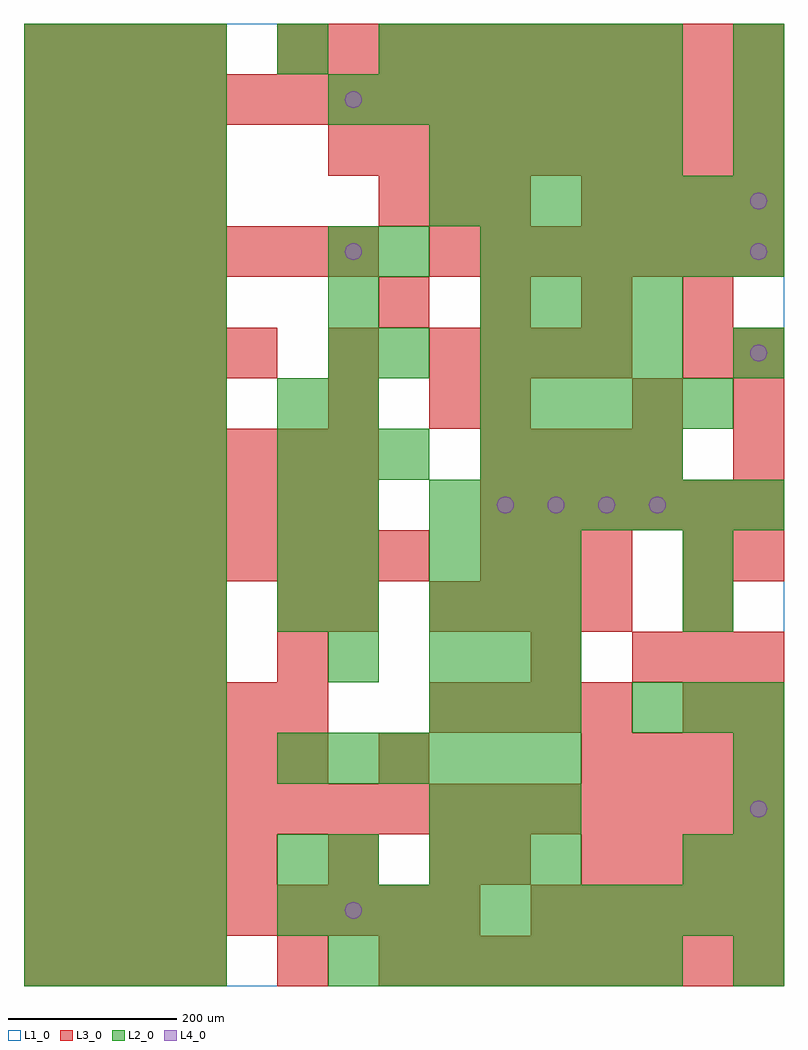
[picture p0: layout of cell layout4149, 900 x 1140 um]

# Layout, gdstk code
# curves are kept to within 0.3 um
import gdstk
lib = gdstk.Library(unit=1e-6, precision=1e-09)
def R(c, l, rs):  # rectangles x0, y0, x1, y1
    for r in rs: c.add(gdstk.rectangle(r[:2], r[2:], *l))
def A(c, l, x, y, w, h, nx, ny, dx, dy):  # array of equal rectangles
    R(c, l, [(x+i*dx, y+j*dy, x+i*dx+w, y+j*dy+h) for i in range(nx) for j in range(ny)])
def P(c, l, *ps):  # polygons
    for p in ps: c.add(gdstk.Polygon(p, *l))
L1_0 = (1, 0)
L2_0 = (2, 0)
L3_0 = (3, 0)
L4_0 = (4, 0)

layout4149 = lib.new_cell('layout4149')
R(layout4149, L1_0, [(0,0,900,1140)])
A(layout4149, L2_0, 0, 0, 60, 60, 4, 19, 60, 60)
A(layout4149, L2_0, 360, 0, 60, 60, 7, 2, 60, 1020)
A(layout4149, L2_0, 300, 60, 60, 60, 10, 1, 60, 0)
A(layout4149, L2_0, 480, 120, 60, 60, 3, 2, 60, 60)
A(layout4149, L2_0, 840, 120, 60, 60, 1, 3, 0, 60)
A(layout4149, L2_0, 300, 240, 60, 60, 6, 1, 60, 0)
A(layout4149, L2_0, 480, 300, 60, 60, 3, 4, 60, 60)
A(layout4149, L2_0, 720, 300, 60, 60, 3, 1, 60, 0)
A(layout4149, L2_0, 360, 360, 60, 60, 1, 4, 0, 60)
A(layout4149, L2_0, 300, 420, 60, 60, 1, 3, 0, 60)
A(layout4149, L2_0, 480, 540, 60, 60, 7, 2, 60, 360)
A(layout4149, L2_0, 300, 600, 60, 60, 3, 1, 60, 0)
A(layout4149, L2_0, 540, 600, 60, 60, 4, 2, 60, 120)
A(layout4149, L2_0, 360, 660, 60, 60, 1, 4, 0, 60)
A(layout4149, L2_0, 540, 660, 60, 60, 5, 1, 60, 0)
A(layout4149, L2_0, 540, 780, 60, 60, 4, 1, 60, 0)
A(layout4149, L2_0, 540, 840, 60, 60, 6, 1, 60, 0)
A(layout4149, L2_0, 480, 960, 60, 60, 5, 1, 60, 0)
A(layout4149, L2_0, 840, 960, 60, 60, 1, 3, 0, 60)
A(layout4149, L2_0, 420, 1080, 60, 60, 6, 1, 60, 0)
R(layout4149, L2_0, [(840,0,900,60), (300,120,360,180), (360,120,420,180), (780,120,840,180), (780,420,840,480), (780,480,840,540), (300,660,360,720), (420,720,480,780), (840,720,900,780), (420,840,480,900), (300,1080,360,1140)])
A(layout4149, L3_0, 0, 0, 60, 60, 4, 2, 60, 360)
A(layout4149, L3_0, 420, 0, 60, 60, 8, 1, 60, 0)
A(layout4149, L3_0, 0, 60, 60, 60, 9, 1, 60, 0)
A(layout4149, L3_0, 600, 60, 60, 60, 5, 1, 60, 0)
A(layout4149, L3_0, 0, 120, 60, 60, 5, 2, 60, 600)
A(layout4149, L3_0, 660, 120, 60, 60, 4, 2, 60, 120)
A(layout4149, L3_0, 0, 180, 60, 60, 15, 2, 60, 840)
A(layout4149, L3_0, 0, 240, 60, 60, 6, 2, 60, 60)
A(layout4149, L3_0, 480, 300, 60, 60, 4, 2, 60, 120)
A(layout4149, L3_0, 720, 360, 60, 60, 3, 1, 60, 0)
A(layout4149, L3_0, 0, 420, 60, 60, 4, 2, 60, 240)
A(layout4149, L3_0, 0, 480, 60, 60, 8, 1, 60, 0)
A(layout4149, L3_0, 540, 480, 60, 60, 3, 1, 60, 0)
A(layout4149, L3_0, 0, 540, 60, 60, 7, 2, 60, 60)
A(layout4149, L3_0, 540, 540, 60, 60, 6, 1, 60, 0)
A(layout4149, L3_0, 540, 600, 60, 60, 4, 1, 60, 0)
A(layout4149, L3_0, 840, 600, 60, 60, 1, 3, 0, 60)
A(layout4149, L3_0, 480, 720, 60, 60, 4, 1, 60, 0)
A(layout4149, L3_0, 0, 780, 60, 60, 4, 2, 60, 120)
A(layout4149, L3_0, 420, 780, 60, 60, 4, 1, 120, 0)
A(layout4149, L3_0, 0, 840, 60, 60, 7, 1, 60, 0)
A(layout4149, L3_0, 480, 840, 60, 60, 7, 1, 60, 0)
A(layout4149, L3_0, 420, 900, 60, 60, 3, 1, 60, 0)
A(layout4149, L3_0, 660, 900, 60, 60, 4, 1, 60, 0)
A(layout4149, L3_0, 0, 960, 60, 60, 4, 2, 60, 120)
A(layout4149, L3_0, 360, 960, 60, 60, 9, 1, 60, 0)
A(layout4149, L3_0, 300, 1080, 60, 60, 10, 1, 60, 0)
R(layout4149, L3_0, [(300,0,360,60), (360,120,420,180), (480,120,540,180), (540,120,600,180), (420,240,480,300), (780,300,840,360), (840,300,900,360), (300,360,360,420), (600,360,660,420), (300,420,360,480), (360,420,420,480), (780,420,840,480), (780,480,840,540), (840,480,900,540), (360,660,420,720), (480,660,540,720), (540,660,600,720), (720,660,780,720), (360,720,420,780), (780,720,840,780)])
P(layout4149, L4_0, [(400,90),(399.239,93.827),(397.071,97.071),(393.827,99.239),(390,100),(386.173,99.239),(382.929,97.071),(380.761,93.827),(380,90),(380.761,86.173),(382.929,82.929),(386.173,80.761),(390,80),(393.827,80.761),(397.071,82.929),(399.239,86.173)],
  [(400,870),(399.239,873.827),(397.071,877.071),(393.827,879.239),(390,880),(386.173,879.239),(382.929,877.071),(380.761,873.827),(380,870),(380.761,866.173),(382.929,862.929),(386.173,860.761),(390,860),(393.827,860.761),(397.071,862.929),(399.239,866.173)],
  [(400,1050),(399.239,1053.827),(397.071,1057.071),(393.827,1059.239),(390,1060),(386.173,1059.239),(382.929,1057.071),(380.761,1053.827),(380,1050),(380.761,1046.173),(382.929,1042.929),(386.173,1040.761),(390,1040),(393.827,1040.761),(397.071,1042.929),(399.239,1046.173)],
  [(580,570),(579.239,573.827),(577.071,577.071),(573.827,579.239),(570,580),(566.173,579.239),(562.929,577.071),(560.761,573.827),(560,570),(560.761,566.173),(562.929,562.929),(566.173,560.761),(570,560),(573.827,560.761),(577.071,562.929),(579.239,566.173)],
  [(640,570),(639.239,573.827),(637.071,577.071),(633.827,579.239),(630,580),(626.173,579.239),(622.929,577.071),(620.761,573.827),(620,570),(620.761,566.173),(622.929,562.929),(626.173,560.761),(630,560),(633.827,560.761),(637.071,562.929),(639.239,566.173)],
  [(700,570),(699.239,573.827),(697.071,577.071),(693.827,579.239),(690,580),(686.173,579.239),(682.929,577.071),(680.761,573.827),(680,570),(680.761,566.173),(682.929,562.929),(686.173,560.761),(690,560),(693.827,560.761),(697.071,562.929),(699.239,566.173)],
  [(760,570),(759.239,573.827),(757.071,577.071),(753.827,579.239),(750,580),(746.173,579.239),(742.929,577.071),(740.761,573.827),(740,570),(740.761,566.173),(742.929,562.929),(746.173,560.761),(750,560),(753.827,560.761),(757.071,562.929),(759.239,566.173)],
  [(880,210),(879.239,213.827),(877.071,217.071),(873.827,219.239),(870,220),(866.173,219.239),(862.929,217.071),(860.761,213.827),(860,210),(860.761,206.173),(862.929,202.929),(866.173,200.761),(870,200),(873.827,200.761),(877.071,202.929),(879.239,206.173)],
  [(880,750),(879.239,753.827),(877.071,757.071),(873.827,759.239),(870,760),(866.173,759.239),(862.929,757.071),(860.761,753.827),(860,750),(860.761,746.173),(862.929,742.929),(866.173,740.761),(870,740),(873.827,740.761),(877.071,742.929),(879.239,746.173)],
  [(880,870),(879.239,873.827),(877.071,877.071),(873.827,879.239),(870,880),(866.173,879.239),(862.929,877.071),(860.761,873.827),(860,870),(860.761,866.173),(862.929,862.929),(866.173,860.761),(870,860),(873.827,860.761),(877.071,862.929),(879.239,866.173)],
  [(880,930),(879.239,933.827),(877.071,937.071),(873.827,939.239),(870,940),(866.173,939.239),(862.929,937.071),(860.761,933.827),(860,930),(860.761,926.173),(862.929,922.929),(866.173,920.761),(870,920),(873.827,920.761),(877.071,922.929),(879.239,926.173)])

lib.write_gds('layout4149.gds')
